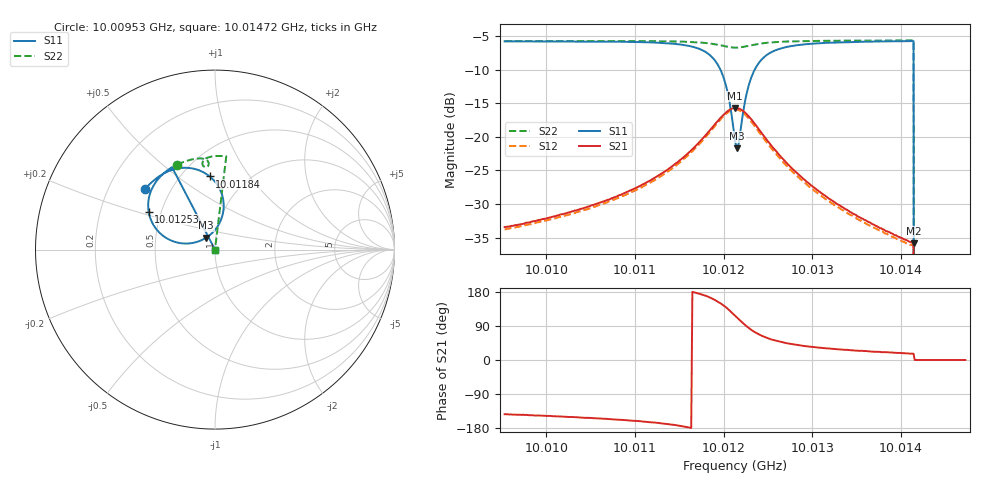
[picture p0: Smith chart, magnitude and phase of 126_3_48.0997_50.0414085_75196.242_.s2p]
#  HZ  S  RI  R  50.00
! Rohde & Schwarz Vector Network Analyzer
! Rohde-Schwarz,ZNB20-2Port,1311601062101988,3.16
! Created: UTC 12/23/2023, 3:47:17 AM
! freq[Hz]  re:S11  im:S11  re:S21  im:S21  re:S12  im:S12  re:S22  im:S22
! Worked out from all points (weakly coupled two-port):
!   401 points, 10.00953 GHz to 10.01472 GHz, reference 50 ohm
!   highest |S21| = -15.68 dB at 10.01213 GHz (marker M1); lowest = -35.9 dB at 10.01414 GHz (marker M2)
!   lowest |S11| = -21.7 dB at 10.01215 GHz (marker M3), VSWR 1.18, Z = 45 + j6.02 ohm
!   |S11| at or under -10 dB: 10.01196 GHz to 10.01235 GHz (385 kHz wide, 0.00385 % of centre); 10.01414 GHz to end of sweep
!   |S22| runs from - to -5.6 dB; largest |S21 - S12| = 0.0081
!   S11 on the Smith chart (normalised r, x): 10.00953 GHz: 0.36, +0.33; 10.01184 GHz: 0.68, +0.67; 10.01253 GHz: 0.43, +0.22; 10.01472 GHz: 1.00, +0.00
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1.0009528e10  -0.3898 0.3365  -0.017 -0.0128  -0.0158 -0.0131  -0.2102 0.4735
1.0010398e10  -0.3347 0.391  -0.0258 -0.0138  -0.024 -0.0144  -0.1558 0.4949
1.0010866e10  -0.2912 0.421  -0.0351 -0.014  -0.033 -0.0152  -0.1242 0.5034
1.0011269e10  -0.2329 0.4462  -0.0504 -0.0124  -0.0479 -0.0142  -0.0943 0.5082
1.0011646e10  -0.1279 0.4525  -0.081 0.000268  -0.0781 -0.00385  -0.0613 0.5059
1.001184e10  -0.0291 0.4074  -0.1079 0.0284  -0.1061 0.022  -0.0425 0.4955
1.0011931e10  0.0225 0.3454  -0.118 0.0575  -0.1177 0.05  -0.0359 0.4852
1.0012009e10  0.048 0.257  -0.1171 0.0922  -0.1184 0.085  -0.0353 0.4735
1.0012061e10  0.0394 0.1829  -0.1051 0.1188  -0.1072 0.1119  -0.0392 0.4657
1.0012126e10  -0.0148 0.0936  -0.0747 0.1464  -0.0788 0.1396  -0.0486 0.4601
1.0012152e10  -0.0489 0.0665  -0.0592 0.153  -0.0634 0.1465  -0.0533 0.4597
1.0012178e10  -0.087 0.0473  -0.0434 0.1561  -0.0471 0.15  -0.0576 0.4607
1.0012256e10  -0.2053 0.0382  0.00222 0.1481  -0.00292 0.143  -0.0676 0.4692
1.0012308e10  -0.2683 0.0627  0.0239 0.1335  0.0187 0.1289  -0.0701 0.4772
1.0012399e10  -0.3361 0.1264  0.0435 0.1045  0.038 0.1014  -0.0678 0.49
1.0012529e10  -0.3696 0.2114  0.0504 0.0712  0.0451 0.0701  -0.0583 0.5026
1.0012997e10  -0.3406 0.3594  0.0354 0.0245  0.0326 0.025  -0.0185 0.5187
1.0013867e10  -0.2611 0.4445  0.0184 0.0067  0.0171 0.00711  0.0443 0.5212
1.0014114e10  -0.2416 0.4578  0.0157 0.00481  0.0147 0.00553  0.0612 0.5199
1.001414e10  -0.2395 0.4591  0.0154 0.00463  0.0144 0.00531  0.0628 0.5196
1.0014179e10  0 0  0 0  0 0  0 0
1.0014725e10  0 0  0 0  0 0  0 0
